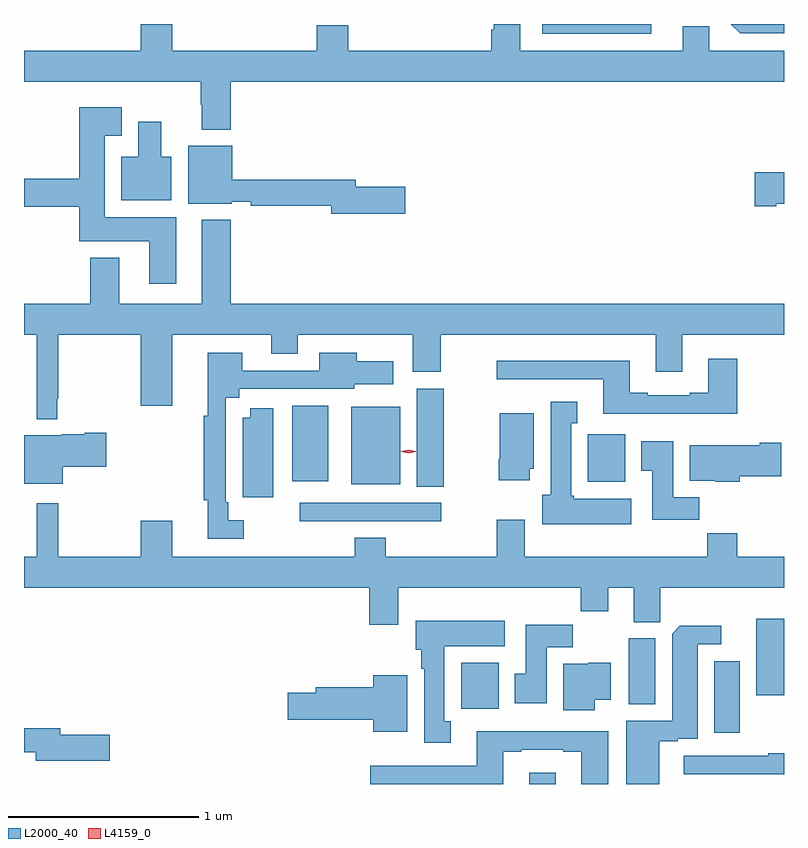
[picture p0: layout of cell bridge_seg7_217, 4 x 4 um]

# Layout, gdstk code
import gdstk
lib = gdstk.Library(unit=1e-6, precision=1e-09)
def R(c, l, rs):  # rectangles x0, y0, x1, y1
    for r in rs: c.add(gdstk.rectangle(r[:2], r[2:], *l))
def P(c, l, *ps):  # polygons
    for p in ps: c.add(gdstk.Polygon(p, *l))
L2000_40 = (2000, 40)
L4159_0 = (4159, 0)

bridge_seg7_217 = lib.new_cell('bridge_seg7_217')
R(bridge_seg7_217, L2000_40, [(322.895,1018.232,323.035,1018.291), (323.87,1018.503,324.004,1018.879), (322.538,1018.628,322.735,1018.87), (323.42,1018.651,323.56,1018.998), (324.092,1018.7,324.237,1019.101), (321.687,1019.616,322.432,1019.712), (322.304,1019.797,322.446,1020.313), (321.959,1019.81,322.216,1020.217), (323.205,1019.822,323.401,1020.072), (321.65,1019.825,321.838,1020.223), (322.965,1022.181,323.539,1022.232)])
P(bridge_seg7_217, L2000_40, [(321.326,1021.928),(324.237,1021.928),(324.237,1022.092),(323.844,1022.092),(323.844,1022.219),(323.705,1022.219),(323.705,1022.092),(322.849,1022.092),(322.849,1022.232),(322.71,1022.232),(322.71,1022.201),(322.697,1022.201),(322.697,1022.092),(321.944,1022.092),(321.944,1022.225),(321.779,1022.225),(321.779,1022.092),(321.016,1022.092),(321.016,1022.232),(320.852,1022.232),(320.852,1022.092),(320.237,1022.092),(320.237,1021.928),(321.166,1021.928),(321.166,1021.808),(321.173,1021.808),(321.173,1021.676),(321.326,1021.676)],
  [(324.237,1022.232),(323.958,1022.232),(324.006,1022.184),(324.237,1022.184)],
  [(321.037,1021.216),(320.662,1021.216),(320.662,1021.643),(320.752,1021.643),(320.752,1021.795),(320.528,1021.795),(320.528,1021.418),(320.237,1021.418),(320.237,1021.271),(320.528,1021.271),(320.528,1021.088),(320.897,1021.088),(320.897,1020.864),(321.037,1020.864)],
  [(321.013,1021.534),(320.959,1021.534),(320.959,1021.717),(320.837,1021.717),(320.837,1021.534),(320.75,1021.534),(320.75,1021.304),(321.013,1021.304)],
  [(322.243,1021.376),(321.982,1021.376),(321.982,1021.412),(321.334,1021.412),(321.334,1021.591),(321.101,1021.591),(321.101,1021.286),(321.33,1021.286),(321.33,1021.296),(321.43,1021.296),(321.43,1021.276),(321.854,1021.276),(321.854,1021.234),(322.243,1021.234)],
  [(324.196,1021.286),(324.237,1021.286),(324.237,1021.452),(324.084,1021.452),(324.084,1021.274),(324.196,1021.274)],
  [(320.413,1020.259),(320.417,1020.259),(320.417,1020.596),(320.852,1020.596),(320.852,1020.222),(321.016,1020.222),(321.016,1020.596),(321.539,1020.596),(321.539,1020.497),(321.679,1020.497),(321.679,1020.596),(322.283,1020.596),(322.283,1020.402),(322.431,1020.402),(322.431,1020.596),(323.561,1020.596),(323.561,1020.402),(323.701,1020.402),(323.701,1020.596),(324.237,1020.596),(324.237,1020.76),(321.326,1020.76),(321.326,1021.201),(321.173,1021.201),(321.173,1020.76),(320.737,1020.76),(320.737,1021.003),(320.585,1021.003),(320.585,1020.76),(320.237,1020.76),(320.237,1020.596),(320.303,1020.596),(320.303,1020.152),(320.413,1020.152)],
  [(321.394,1019.619),(321.312,1019.619),(321.312,1019.716),(321.3,1019.716),(321.3,1020.266),(321.37,1020.266),(321.37,1020.312),(321.975,1020.312),(321.975,1020.335),(322.18,1020.335),(322.18,1020.457),(321.987,1020.457),(321.987,1020.502),(321.791,1020.502),(321.791,1020.408),(321.385,1020.408),(321.385,1020.502),(321.203,1020.502),(321.203,1020.17),(321.184,1020.17),(321.184,1019.726),(321.203,1019.726),(321.203,1019.523),(321.394,1019.523)],
  [(323.99,1020.469),(323.837,1020.469),(323.837,1020.292),(323.741,1020.292),(323.741,1020.279),(323.521,1020.279),(323.521,1020.292),(323.425,1020.292),(323.425,1020.46),(322.725,1020.46),(322.725,1020.363),(323.285,1020.363),(323.285,1020.182),(323.99,1020.182)],
  [(323.434,1019.734),(323.13,1019.734),(323.13,1019.748),(323.116,1019.748),(323.116,1020.131),(323.149,1020.131),(323.149,1020.244),(323.009,1020.244),(323.009,1019.754),(322.964,1019.754),(322.964,1019.6),(323.434,1019.6)],
  [(321.55,1020.209),(321.428,1020.209),(321.428,1020.16),(321.389,1020.16),(321.389,1019.742),(321.55,1019.742)],
  [(322.9,1019.892),(322.921,1019.892),(322.921,1020.184),(322.742,1020.184),(322.742,1019.944),(322.735,1019.944),(322.735,1019.832),(322.9,1019.832)],
  [(320.44,1019.902),(320.671,1019.902),(320.671,1020.08),(320.558,1020.08),(320.558,1020.074),(320.436,1020.074),(320.436,1020.067),(320.237,1020.067),(320.237,1019.813),(320.44,1019.813)],
  [(323.792,1019.74),(323.653,1019.74),(323.653,1020.037),(323.486,1020.037),(323.486,1019.881),(323.543,1019.881),(323.543,1019.622),(323.792,1019.622)],
  [(324.005,1019.851),(324.223,1019.851),(324.223,1020.029),(324.11,1020.029),(324.11,1020.016),(323.741,1020.016),(323.741,1019.828),(323.874,1019.828),(323.874,1019.822),(324.005,1019.822)],
  [(322.207,1019.264),(323.167,1019.264),(323.167,1019.14),(323.311,1019.14),(323.311,1019.264),(323.447,1019.264),(323.447,1019.083),(323.585,1019.083),(323.585,1019.264),(324.237,1019.264),(324.237,1019.428),(323.99,1019.428),(323.99,1019.552),(323.833,1019.552),(323.833,1019.428),(322.873,1019.428),(322.873,1019.623),(322.726,1019.623),(322.726,1019.428),(322.142,1019.428),(322.142,1019.527),(321.977,1019.527),(321.977,1019.428),(321.016,1019.428),(321.016,1019.617),(320.852,1019.617),(320.852,1019.428),(320.417,1019.428),(320.417,1019.71),(320.303,1019.71),(320.303,1019.428),(320.237,1019.428),(320.237,1019.264),(322.055,1019.264),(322.055,1019.07),(322.207,1019.07)],
  [(322.483,1018.562),(322.45,1018.562),(322.45,1018.958),(322.768,1018.958),(322.768,1019.092),(322.298,1019.092),(322.298,1018.938),(322.328,1018.938),(322.328,1018.838),(322.343,1018.838),(322.343,1018.449),(322.483,1018.449)],
  [(322.987,1018.952),(323.126,1018.952),(323.126,1019.071),(322.877,1019.071),(322.877,1018.812),(322.82,1018.812),(322.82,1018.656),(322.987,1018.656)],
  [(323.581,1018.458),(323.678,1018.458),(323.678,1018.47),(323.782,1018.47),(323.782,1018.968),(323.908,1018.968),(323.908,1019.066),(323.689,1019.066),(323.648,1019.024),(323.648,1018.566),(323.408,1018.566),(323.408,1018.232),(323.581,1018.232)],
  [(323.242,1018.676),(323.326,1018.676),(323.326,1018.87),(323.208,1018.87),(323.208,1018.864),(323.075,1018.864),(323.075,1018.619),(323.242,1018.619)],
  [(322.255,1018.804),(322.076,1018.804),(322.076,1018.742),(321.773,1018.742),(321.773,1018.712),(321.624,1018.712),(321.624,1018.57),(322.076,1018.57),(322.076,1018.508),(322.255,1018.508)],
  [(320.689,1018.49),(320.428,1018.49),(320.428,1018.526),(320.237,1018.526),(320.237,1018.398),(320.3,1018.398),(320.3,1018.355),(320.689,1018.355)],
  [(322.759,1018.401),(322.855,1018.401),(322.855,1018.413),(323.075,1018.413),(323.075,1018.401),(323.171,1018.401),(323.171,1018.232),(323.311,1018.232),(323.311,1018.509),(322.983,1018.509),(322.983,1018.51),(322.619,1018.51),(322.619,1018.329),(322.059,1018.329),(322.059,1018.232),(322.759,1018.232)],
  [(324.237,1018.393),(324.155,1018.393),(324.155,1018.38),(323.709,1018.38),(323.709,1018.284),(324.237,1018.284)])
P(bridge_seg7_217, L4159_0, [(322.261,1019.972),(322.223,1019.982),(322.223,1019.982),(322.223,1019.983),(322.261,1019.992),(322.299,1019.983),(322.299,1019.982),(322.299,1019.982)])

lib.write_gds('bridge_seg7_217.gds')
